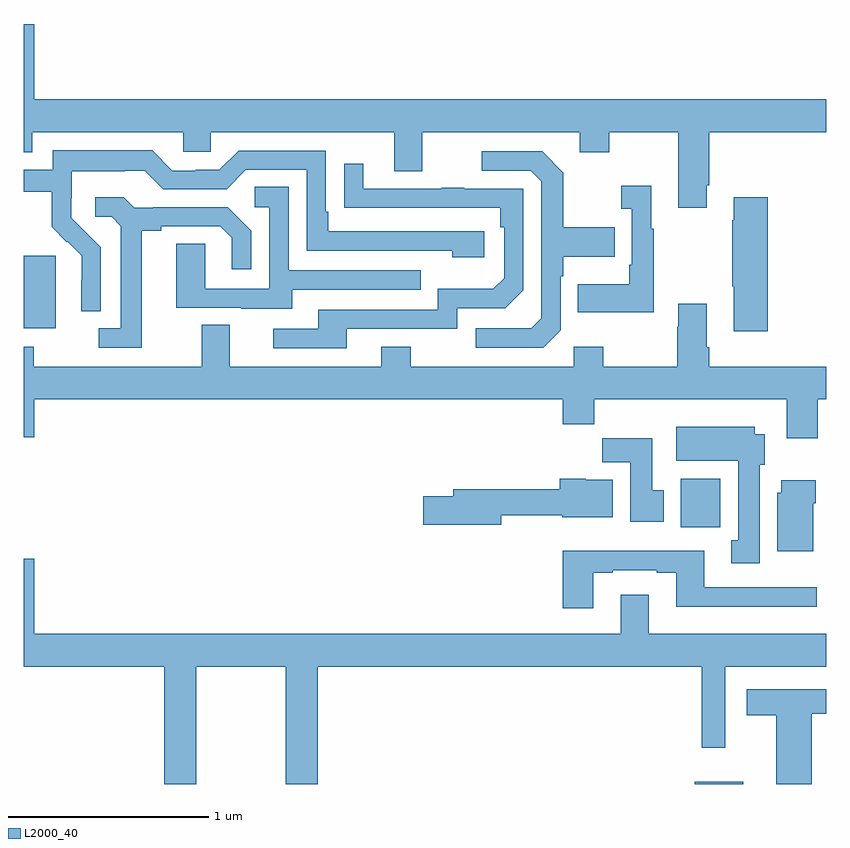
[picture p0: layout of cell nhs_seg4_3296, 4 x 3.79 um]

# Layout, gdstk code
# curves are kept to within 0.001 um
import gdstk
lib = gdstk.Library(unit=1e-6, precision=1e-09)
def R(c, l, rs):  # rectangles x0, y0, x1, y1
    for r in rs: c.add(gdstk.rectangle(r[:2], r[2:], *l))
def P(c, l, *ps):  # polygons
    for p in ps: c.add(gdstk.Polygon(p, *l))
L2000_40 = (2000, 40)

nhs_seg4_3296 = lib.new_cell('nhs_seg4_3296')
R(nhs_seg4_3296, L2000_40, [(288.344,798.9,288.586,798.91), (288.275,800.18,288.472,800.422), (285,801.17,285.16,801.531)])
P(nhs_seg4_3296, L2000_40, [(288.403,801.883),(288.416,801.883),(288.416,802.148),(289,802.148),(289,802.312),(285.052,802.312),(285.052,802.687),(285,802.687),(285,802.049),(285.043,802.049),(285.043,802.148),(285.795,802.148),(285.795,802.05),(285.933,802.05),(285.933,802.148),(286.847,802.148),(286.847,801.954),(286.987,801.954),(286.987,802.148),(287.771,802.148),(287.771,802.049),(287.919,802.049),(287.919,802.148),(288.263,802.148),(288.263,801.771),(288.403,801.771)],
  [(285.384,801.574),(285.238,801.722),(285.238,801.819),(285.24,801.819),(285.24,801.953),(285.503,801.953),(285.503,801.957),(285.603,801.957),(285.696,801.864),(286.011,801.864),(286.107,801.96),(286.41,801.96),(286.41,801.558),(287.135,801.558),(287.135,801.524),(287.296,801.524),(287.296,801.654),(286.519,801.654),(286.519,801.751),(286.506,801.751),(286.506,802.056),(286.071,802.056),(285.975,801.96),(285.857,801.96),(285.857,801.957),(285.741,801.957),(285.641,802.057),(285.144,802.057),(285.144,801.96),(285,801.96),(285,801.852),(285.139,801.852),(285.139,801.677),(285.216,801.6),(285.219,801.603),(285.29,801.533),(285.29,801.41),(285.288,801.41),(285.288,801.256),(285.384,801.256)],
  [(287.676,801.162),(287.676,801.431),(287.689,801.431),(287.689,801.527),(287.945,801.527),(287.945,801.675),(287.689,801.675),(287.689,801.947),(287.583,802.053),(287.283,802.053),(287.283,801.957),(287.526,801.957),(287.58,801.903),(287.58,801.222),(287.529,801.171),(287.253,801.171),(287.253,801.075),(287.589,801.075)],
  [(286.609,801.168),(287.16,801.168),(287.16,801.27),(287.4,801.27),(287.49,801.36),(287.49,801.867),(287.195,801.867),(287.195,801.872),(287.083,801.872),(287.083,801.867),(286.693,801.867),(286.693,801.991),(286.597,801.991),(286.597,801.772),(287.374,801.771),(287.374,801.674),(287.394,801.674),(287.394,801.42),(287.341,801.367),(287.064,801.367),(287.064,801.264),(286.469,801.264),(286.469,801.168),(286.245,801.168),(286.245,801.072),(286.609,801.072)],
  [(288.139,801.667),(288.127,801.667),(288.127,801.88),(287.979,801.88),(287.979,801.767),(288.03,801.767),(288.03,801.487),(288.018,801.487),(288.018,801.391),(287.761,801.391),(287.761,801.251),(288.139,801.251)],
  [(286.339,801.363),(286.979,801.363),(286.979,801.459),(286.32,801.459),(286.32,801.875),(286.152,801.875),(286.152,801.774),(286.224,801.774),(286.224,801.369),(285.906,801.369),(285.906,801.593),(285.761,801.593),(285.761,801.273),(286.085,801.273),(286.085,801.269),(286.339,801.269)],
  [(285.589,801.656),(285.685,801.656),(285.685,801.678),(285.98,801.678),(286.037,801.621),(286.037,801.465),(286.134,801.465),(286.134,801.658),(286.018,801.774),(285.646,801.774),(285.646,801.771),(285.552,801.771),(285.5,801.823),(285.357,801.823),(285.357,801.726),(285.438,801.726),(285.485,801.679),(285.485,801.171),(285.375,801.171),(285.375,801.075),(285.589,801.075)],
  [(288.707,801.823),(288.539,801.823),(288.539,801.71),(288.532,801.71),(288.532,801.379),(288.539,801.379),(288.539,801.156),(288.707,801.156)],
  [(288.956,800.816),(289,800.816),(289,800.98),(288.416,800.98),(288.416,801.076),(288.403,801.076),(288.403,801.292),(288.263,801.292),(288.263,801.179),(288.256,801.179),(288.256,800.98),(287.889,800.98),(287.889,801.079),(287.742,801.079),(287.742,800.98),(286.929,800.98),(286.929,801.079),(286.781,801.079),(286.781,800.98),(286.027,800.98),(286.027,801.188),(285.887,801.188),(285.887,800.98),(285.051,800.98),(285.051,801.079),(285,801.079),(285,800.628),(285.052,800.628),(285.052,800.816),(287.687,800.816),(287.687,800.692),(287.843,800.692),(287.843,800.816),(288.803,800.816),(288.803,800.622),(288.956,800.622)],
  [(288.667,800.49),(288.694,800.49),(288.694,800.644),(288.643,800.644),(288.643,800.68),(288.251,800.68),(288.251,800.51),(288.56,800.51),(288.56,800.114),(288.527,800.114),(288.527,800.001),(288.667,800.001)],
  [(288.19,800.364),(288.133,800.364),(288.133,800.622),(287.884,800.622),(287.884,800.504),(288.023,800.504),(288.023,800.208),(288.19,800.208)],
  [(287.38,800.239),(287.684,800.239),(287.684,800.228),(287.935,800.228),(287.935,800.416),(287.802,800.416),(287.802,800.422),(287.672,800.422),(287.672,800.368),(287.141,800.368),(287.141,800.334),(286.992,800.334),(286.992,800.192),(287.38,800.192)],
  [(288.934,800.3),(288.947,800.3),(288.947,800.413),(288.776,800.413),(288.776,800.352),(288.755,800.352),(288.755,800.06),(288.934,800.06)],
  [(287.839,799.953),(287.935,799.953),(287.935,799.965),(288.155,799.965),(288.155,799.953),(288.251,799.953),(288.251,799.784),(288.952,799.784),(288.952,799.881),(288.391,799.881),(288.391,800.062),(287.687,800.062),(287.687,799.776),(287.839,799.776)],
  [(285.861,799.484),(286.306,799.484),(286.306,798.9),(286.466,798.9),(286.466,799.484),(288.379,799.484),(288.379,799.08),(288.495,799.08),(288.495,799.484),(289,799.484),(289,799.648),(288.115,799.648),(288.115,799.843),(287.975,799.843),(287.975,799.648),(285.052,799.648),(285.052,800.023),(285,800.023),(285,799.484),(285.701,799.484),(285.701,798.9),(285.861,798.9)],
  [(288.928,799.25),(289,799.25),(289,799.372),(288.603,799.372),(288.603,799.243),(288.749,799.243),(288.749,798.9),(288.928,798.9)])

lib.write_gds('nhs_seg4_3296.gds')
